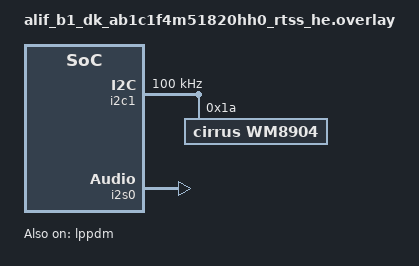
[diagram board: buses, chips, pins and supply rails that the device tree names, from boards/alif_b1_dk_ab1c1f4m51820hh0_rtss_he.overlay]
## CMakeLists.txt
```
# SPDX-License-Identifier: Apache-2.0

cmake_minimum_required(VERSION 3.20.0)

find_package(Zephyr REQUIRED HINTS $ENV{ZEPHYR_BASE})
project(dmic_echo)

target_sources(app PRIVATE src/main.c)
```

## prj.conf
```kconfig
CONFIG_I2S=y
CONFIG_AUDIO_DMIC=y
CONFIG_I2C=y
CONFIG_WM8904=y
CONFIG_AUDIO=y
CONFIG_AUDIO_CODEC=y
CONFIG_LOG=y
CONFIG_DMA=y
CONFIG_MAIN_STACK_SIZE=8192
```

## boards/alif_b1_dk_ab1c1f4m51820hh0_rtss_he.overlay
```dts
/* Copyright (C) Alif Semiconductor - All Rights Reserved.
 * Use, distribution and modification of this code is permitted under the
 * terms stated in the Alif Semiconductor Software License Agreement
 *
 * You should have received a copy of the Alif Semiconductor Software
 * License Agreement with this file. If not, please write to:
 * contact@alifsemi.com, or visit: https://alifsemi.com/license
 *
 */

#define I2S0_IRQ_NUM  141
#define I2S0_IRQ_PRIO 3
#define LPPDM_DMA_CH_1  0
#define LPPDM_DMA_CH_2  1
#define LPPDM_DMA_CH_3  2
#define LPPDM_DMA_CH_4  3
#define LPPDM_DMA_REQ 30

/ {
	aliases {
		pdm-audio = &lppdm;
		audio-codec = &wm8904;
		i2s-tx = &i2s0;
	};
};

&lppdm {
	status = "okay";
	dmas = <&dma2 LPPDM_DMA_CH_1 LPPDM_DMA_REQ>,
	       <&dma2 LPPDM_DMA_CH_2 LPPDM_DMA_REQ>,
	       <&dma2 LPPDM_DMA_CH_3 LPPDM_DMA_REQ>,
	       <&dma2 LPPDM_DMA_CH_4 LPPDM_DMA_REQ>;
	dma-names = "pdm_dma_1", "pdm_dma_2", "pdm_dma_3", "pdm_dma_4";
};

&i2c1 {
	clock-frequency = <I2C_BITRATE_STANDARD>;
	status = "okay";

	wm8904: wm8904@1a {
		compatible = "cirrus,wm8904";
		reg = <0x1a>;
		status = "okay";
	};
};

&i2s0 {
	status = "okay";
};

&pinctrl_i2c1 {
	group0 {
		pinmux = <PIN_P7_2__I2C1_SDA_C>,
			 <PIN_P7_3__I2C1_SCL_C>;
	};
};

&pinctrl_i2s0 {
	group0 {
		pinmux = <PIN_P2_4__I2S0_SDI_B>,
			 <PIN_P2_5__I2S0_SDO_B>,
			 <PIN_P1_7__I2S0_WS_A>,
			 <PIN_P1_6__I2S0_SCLK_A>;
	};
};

&dma2 {
	status = "okay";
	dma-channels = <8>;
	interrupts = <0 3>, <1 3>, <2 3>, <3 3>, <4 3>, <5 3>,
		     <6 3>, <7 3>, <32 3>;
	interrupt-names = "channel0", "channel1",
			  "channel2", "channel3",
			  "channel4", "channel5",
			  "channel6", "channel7",
			  "abort";
};
```

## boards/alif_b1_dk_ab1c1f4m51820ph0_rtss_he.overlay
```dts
/* Copyright (C) Alif Semiconductor - All Rights Reserved.
 * Use, distribution and modification of this code is permitted under the
 * terms stated in the Alif Semiconductor Software License Agreement
 *
 * You should have received a copy of the Alif Semiconductor Software
 * License Agreement with this file. If not, please write to:
 * contact@alifsemi.com, or visit: https://alifsemi.com/license
 *
 */

#define I2S0_IRQ_NUM  141
#define I2S0_IRQ_PRIO 3

/ {
	aliases {
		pdm-audio = &lppdm;
		audio-codec = &wm8904;
		i2s-tx = &i2s0;
	};
};

&lppdm {
	status = "okay";
};

&i2c1 {
	clock-frequency = <I2C_BITRATE_STANDARD>;
	status = "okay";

	wm8904: wm8904@1a {
		compatible = "cirrus,wm8904";
		reg = <0x1a>;
		status = "okay";
	};
};

&i2s0 {
	status = "okay";
};

&pinctrl_i2c1 {
	group0 {
		pinmux = <PIN_P7_2__I2C1_SDA_C>,
			 <PIN_P7_3__I2C1_SCL_C>;
	};
};

&pinctrl_i2s0 {
	group0 {
		pinmux = <PIN_P2_4__I2S0_SDI_B>,
			 <PIN_P2_5__I2S0_SDO_B>,
			 <PIN_P1_7__I2S0_WS_A>,
			 <PIN_P1_6__I2S0_SCLK_A>;
	};
};
```

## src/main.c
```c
/*
 * Copyright (c) 2021 Nordic Semiconductor ASA
 *
 * SPDX-License-Identifier: Apache-2.0
 */

/*
 * Copyright (C) 2026 Alif Semiconductor.
 * SPDX-License-Identifier: Apache-2.0
 */

#include <zephyr/kernel.h>
#include <zephyr/sys/printk.h>
#include <zephyr/drivers/i2s.h>
#include <zephyr/drivers/gpio.h>
#include <string.h>
#include <zephyr/audio/dmic.h>
#include <zephyr/drivers/pdm/pdm_alif.h>
#include <zephyr/audio/codec.h>

#define RX_NODE        DT_ALIAS(pdm_audio)
#define I2S_TX_NODE    DT_ALIAS(i2s_tx)
#define CODEC_CFG_NODE DT_ALIAS(audio_codec)

#define AUDIO_L      PDM_AUDIO_CHANNEL_2
#define AUDIO_R      PDM_AUDIO_CHANNEL_3
#define AUDIO_L_2    PDM_AUDIO_CHANNEL_4
#define AUDIO_R_2    PDM_AUDIO_CHANNEL_5
#define AUDIO_L_3    PDM_AUDIO_CHANNEL_0
#define AUDIO_R_3    PDM_AUDIO_CHANNEL_1
//#define PDM_CHANNELS       ((1 << AUDIO_L) | (1 << AUDIO_R) | (1 << AUDIO_L_2) | (1 << AUDIO_R_2) | (1 << AUDIO_L_3) | (1 << AUDIO_R_3))
#define PDM_CHANNELS ((1 << AUDIO_L_2) | (1 << AUDIO_R_2) | (1 << AUDIO_L) | (1 << AUDIO_R))
//#define PDM_CHANNELS ((1 << AUDIO_L_3) | (1 << AUDIO_R_3))

#define NUMBER_OF_CHANNELS 4

#define I2S_CHANNEL_CNT 2

#define SAMPLE_FREQUENCY 16000
#define SAMPLE_BIT_WIDTH 16
#define BYTES_PER_SAMPLE sizeof(int16_t)

#define SAMPLES_PER_BLOCK ((SAMPLE_FREQUENCY / 50))
#define INITIAL_BLOCKS    NUMBER_OF_CHANNELS
#define TIMEOUT           1000

#define BLOCK_SIZE  (BYTES_PER_SAMPLE * SAMPLES_PER_BLOCK)
#define BLOCK_COUNT (INITIAL_BLOCKS * 2)
K_MEM_SLAB_DEFINE_STATIC(mem_slab, (BLOCK_SIZE * (NUMBER_OF_CHANNELS / 2)), BLOCK_COUNT, 4);
K_MEM_SLAB_DEFINE_STATIC(i2s_slab, BLOCK_SIZE, BLOCK_COUNT, 4);

uint32_t fir[PDM_MAX_FIR_COEFFICIENT] = {0x00000001, 0x00000003, 0x00000003, 0x000007F4, 0x00000004,
					 0x000007ED, 0x000007F5, 0x000007F4, 0x000007D3, 0x000007FE,
					 0x000007BC, 0x000007E5, 0x000007D9, 0x00000793, 0x00000029,
					 0x0000072C, 0x00000072, 0x000002FD};

#define PHASE           0x0000001F
#define GAIN            0x00000200
#define PEAK_DETECT_TH  0x00060002
#define PEAK_DETECT_ITV 0x0004002D
#define IIR_COEF        0x00000004
#define PDM_MODE        PDM_MODE_HIGH_QUALITY_1024_CLK_FRQ

void set_config(struct dmic_cfg *cfg, struct pcm_stream_cfg *stream)
{
	uint32_t channel_map = 0;

	cfg->streams = stream;
	cfg->streams[0].mem_slab = &mem_slab;
	cfg->channel.req_num_streams = 1;
	cfg->channel.req_num_chan = NUMBER_OF_CHANNELS;
	cfg->streams[0].block_size = BLOCK_SIZE * (NUMBER_OF_CHANNELS / 2);

	channel_map = PDM_CHANNELS;

	cfg->channel.req_chan_map_lo = channel_map;
}

void pdm_ch_config(const struct device *pcmj_device)
{
	struct pdm_ch_config pdm_coef_reg;

	pdm_set_ch_phase(pcmj_device, AUDIO_L, PHASE);
	pdm_set_ch_gain(pcmj_device, AUDIO_L, GAIN);
	pdm_coef_reg.ch_num = AUDIO_L;
	memcpy(pdm_coef_reg.ch_fir_coef, fir, sizeof(pdm_coef_reg.ch_fir_coef));
	pdm_coef_reg.ch_iir_coef = IIR_COEF;
	pdm_channel_config(pcmj_device, &pdm_coef_reg);

	pdm_set_ch_gain(pcmj_device, AUDIO_R, GAIN);
	pdm_set_ch_phase(pcmj_device, AUDIO_R, PHASE);
	pdm_coef_reg.ch_num = AUDIO_R;
	memcpy(pdm_coef_reg.ch_fir_coef, fir, sizeof(pdm_coef_reg.ch_fir_coef));
	pdm_coef_reg.ch_iir_coef = IIR_COEF;
	pdm_channel_config(pcmj_device, &pdm_coef_reg);

	pdm_set_ch_phase(pcmj_device, AUDIO_L_2, PHASE);
	pdm_set_ch_gain(pcmj_device, AUDIO_L_2, GAIN);
	pdm_coef_reg.ch_num = AUDIO_L_2;
	memcpy(pdm_coef_reg.ch_fir_coef, fir, sizeof(pdm_coef_reg.ch_fir_coef));
	pdm_coef_reg.ch_iir_coef = IIR_COEF;
	pdm_channel_config(pcmj_device, &pdm_coef_reg);

	pdm_set_ch_gain(pcmj_device, AUDIO_R_2, GAIN);
	pdm_set_ch_phase(pcmj_device, AUDIO_R_2, PHASE);
	pdm_coef_reg.ch_num = AUDIO_R_2;
	memcpy(pdm_coef_reg.ch_fir_coef, fir, sizeof(pdm_coef_reg.ch_fir_coef));
	pdm_coef_reg.ch_iir_coef = IIR_COEF;
	pdm_channel_config(pcmj_device, &pdm_coef_reg);

	pdm_set_ch_phase(pcmj_device, AUDIO_L_3, PHASE);
	pdm_set_ch_gain(pcmj_device, AUDIO_L_3, GAIN);
	pdm_coef_reg.ch_num = AUDIO_L_3;
	memcpy(pdm_coef_reg.ch_fir_coef, fir, sizeof(pdm_coef_reg.ch_fir_coef));
	pdm_coef_reg.ch_iir_coef = IIR_COEF;
	pdm_channel_config(pcmj_device, &pdm_coef_reg);

	pdm_set_ch_gain(pcmj_device, AUDIO_R_3, GAIN);
	pdm_set_ch_phase(pcmj_device, AUDIO_R_3, PHASE);
	pdm_coef_reg.ch_num = AUDIO_R_3;
	memcpy(pdm_coef_reg.ch_fir_coef, fir, sizeof(pdm_coef_reg.ch_fir_coef));
	pdm_coef_reg.ch_iir_coef = IIR_COEF;
	pdm_channel_config(pcmj_device, &pdm_coef_reg);

	pdm_mode(pcmj_device, PDM_MODE);
}

static bool configure_streams(const struct device *pdm_mic, const struct device *i2s_dev_tx)
{
	struct i2s_config config;
	struct dmic_cfg cfg;
	struct pcm_stream_cfg stream;

	config.word_size = SAMPLE_BIT_WIDTH;
	config.channels = I2S_CHANNEL_CNT;
	config.format = I2S_FMT_DATA_FORMAT_I2S;
	config.options = I2S_OPT_BIT_CLK_MASTER | I2S_OPT_FRAME_CLK_MASTER;
	config.frame_clk_freq = SAMPLE_FREQUENCY;
	// config.mem_slab = &mem_slab;
	config.mem_slab = &i2s_slab;
	config.block_size = BLOCK_SIZE;
	config.timeout = TIMEOUT;

	int ret = i2s_configure(i2s_dev_tx, I2S_DIR_TX, &config);
	if (ret < 0) {
		printk("Failed to configure TX stream: %d\n", ret);
		return false;
	}

	set_config(&cfg, &stream);
	dmic_configure(pdm_mic, &cfg);
	pdm_ch_config(pdm_mic);

	return true;
}

static bool prepare_transfer(const struct device *i2s_dev_tx)
{
	int ret;

	for (int i = 0; i < INITIAL_BLOCKS; ++i) {
		void *mem_block;

		ret = k_mem_slab_alloc(&i2s_slab, &mem_block, K_NO_WAIT);

		if (ret < 0) {
			printk("Failed to allocate TX block %d: %d\n", i, ret);
			return false;
		}

		memset(mem_block, 0, BLOCK_SIZE);

		ret = i2s_write(i2s_dev_tx, mem_block, BLOCK_SIZE);

		if (ret < 0) {
			printk("Failed to write block %d: %d\n", i, ret);
			return false;
		}
	}

	return true;
}

static bool trigger_command(const struct device *dev_rx, const struct device *i2s_dev_tx,
			    enum i2s_trigger_cmd cmd)
{
	int ret = dmic_trigger(dev_rx,
			       (cmd == I2S_TRIGGER_START) ? DMIC_TRIGGER_START : DMIC_TRIGGER_STOP);
	if (ret < 0) {
		printk("Failed to trigger command %d on RX: %d\n", cmd, ret);
		return false;
	}

	ret = i2s_trigger(i2s_dev_tx, I2S_DIR_TX, cmd);
	if (ret < 0) {
		printk("Failed to trigger command %d on TX: %d\n", cmd, ret);
		return false;
	}

	return true;
}

int main(void)
{
	const struct device *const dev_rx = DEVICE_DT_GET(RX_NODE);
	const struct device *const i2s_dev_tx = DEVICE_DT_GET(I2S_TX_NODE);
	const struct device *const codec_dev = DEVICE_DT_GET(CODEC_CFG_NODE);

	printk("PDM echo sample\n");

	if (!device_is_ready(dev_rx)) {
		printk("%s is not ready\n", dev_rx->name);
		return 0;
	}

	if (!device_is_ready(i2s_dev_tx)) {
		printk("%s is not ready\n", i2s_dev_tx->name);
		return 0;
	}

	if (!device_is_ready(codec_dev)) {
		printk("%s is not ready\n", codec_dev->name);
		return 0;
	}

	if (!configure_streams(dev_rx, i2s_dev_tx)) {
		return 0;
	}

	if (!prepare_transfer(i2s_dev_tx)) {
		return 0;
	}

	audio_codec_start_output(codec_dev);

	if (!trigger_command(dev_rx, i2s_dev_tx, I2S_TRIGGER_START)) {
		return 0;
	}

	printk("Streams started\n");

	while (1) {
		void *mem_block;

		uint32_t block_size;
		void *i2s_block;
		int ret;
		int i, x = 0;
		uint32_t y = 0;

		ret = dmic_read(dev_rx, 0, &mem_block, &block_size, 5000);

		if (ret < 0) {
			printk("Failed to read data: %d\n", ret);
			break;
		}

		ret = k_mem_slab_alloc(&i2s_slab, &i2s_block, K_NO_WAIT);
		if (ret) {
			printk("Failed to allocate i2s slab, err %d\n", ret);
			return ret;
		}

		int16_t *src = mem_block;
		int16_t *dst = i2s_block;
		size_t total_input_samples = block_size / sizeof(uint16_t);
		size_t frames = total_input_samples / NUMBER_OF_CHANNELS;


		if (NUMBER_OF_CHANNELS == 6) {
			for (size_t i = 0; i < frames; i++) {
				dst[0] = (src[0] + src[2] + src[4]) / 3;
				dst[1] = (src[1] + src[3] + src[5]) / 3;
				src += 6;
				dst += 2; // stereo output
			}
		} else if (NUMBER_OF_CHANNELS == 4) {
			for (size_t i = 0; i < frames; i++) {
				dst[0] = (src[0] + src[2]) / 2;
				dst[1] = (src[1] + src[3]) / 2;
				src += 4;
				dst += 2; // stereo output
			}
		} else if (NUMBER_OF_CHANNELS == 2) {
			for (size_t i = 0; i < frames; i++) {
				dst[0] = src[0];
				dst[1] = src[1];
				src += 2;
				dst += 2; // stereo output
			}
		}

		k_mem_slab_free(&mem_slab, mem_block);

		ret = i2s_write(i2s_dev_tx, i2s_block, BLOCK_SIZE);
		if (ret < 0) {
			printk("Failed to write data: %d\n", ret);
			break;
		}
	}

	dmic_trigger(dev_rx, DMIC_TRIGGER_STOP);
}
```
